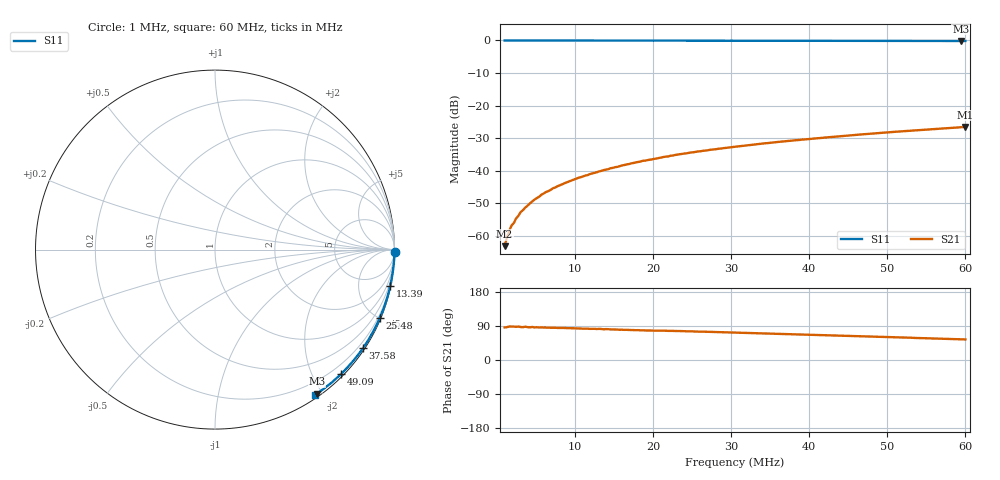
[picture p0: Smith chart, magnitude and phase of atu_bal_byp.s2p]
! S11/S21 from S-A-A-2 VNA
! Written 2026-11-14 07:39:24 by the saav2 MCP server
! S12 and S22 were not measured (1.5-port VNA) and are written as 0
# HZ S RI R 50
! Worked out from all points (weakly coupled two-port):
!   201 points, 1 MHz to 60 MHz, reference 50 ohm
!   highest |S21| = -26.58 dB at 60 MHz (marker M1); lowest = -63.2 dB at 1 MHz (marker M2)
!   lowest |S11| = -0.1 dB at 59.41 MHz (marker M3), VSWR 116.02, Z = 2.04 - j96.6 ohm
!   |S11| at or under -10 dB: nowhere
!   S12 and S22 are empty: the file has one direction only
!   S11 on the Smith chart (normalised r, x): 1 MHz: open; 13.39 MHz: 0.13, -9.64; 25.48 MHz: 0.08, -5.02; 37.58 MHz: 0.06, -3.32; 49.09 MHz: 0.05, -2.44; 60 MHz: 0.04, -1.91
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1000000  1.001 -0.0141  4.83e-05 0.000687  0 0  0 0
1295000  1.001 -0.0198  5.54e-05 0.000935  0 0  0 0
1590000  1.001 -0.0249  3.27e-05 0.00118  0 0  0 0
1885000  0.9997 -0.0293  4.39e-05 0.00143  0 0  0 0
2180000  0.9999 -0.034  5.01e-05 0.00156  0 0  0 0
2475000  0.9994 -0.0382  7.85e-05 0.00184  0 0  0 0
3065000  0.9985 -0.0477  0.00012 0.00231  0 0  0 0
4245000  0.997 -0.066  0.000209 0.00313  0 0  0 0
5720000  0.9948 -0.0885  0.000298 0.00426  0 0  0 0
7195000  0.9926 -0.1108  0.000452 0.00533  0 0  0 0
1.103e7  0.9832 -0.169  0.00105 0.00805  0 0  0 0
1.339e7  0.976 -0.2047  0.00141 0.00979  0 0  0 0
1.87e7  0.9549 -0.2835  0.00286 0.0139  0 0  0 0
2.0765e7  0.9446 -0.3135  0.0034 0.0153  0 0  0 0
2.5485e7  0.9179 -0.3811  0.00503 0.0188  0 0  0 0
3.05e7  0.8834 -0.452  0.00707 0.0222  0 0  0 0
3.758e7  0.8255 -0.5474  0.0107 0.0267  0 0  0 0
4.053e7  0.7976 -0.5856  0.0124 0.0284  0 0  0 0
4.9085e7  0.7041 -0.6918  0.0183 0.0333  0 0  0 0
5.0265e7  0.6895 -0.7057  0.0192 0.0338  0 0  0 0
5.941e7  0.5677 -0.8024  0.0268 0.0378  0 0  0 0
6e7  0.5596 -0.8083  0.0274 0.0381  0 0  0 0
